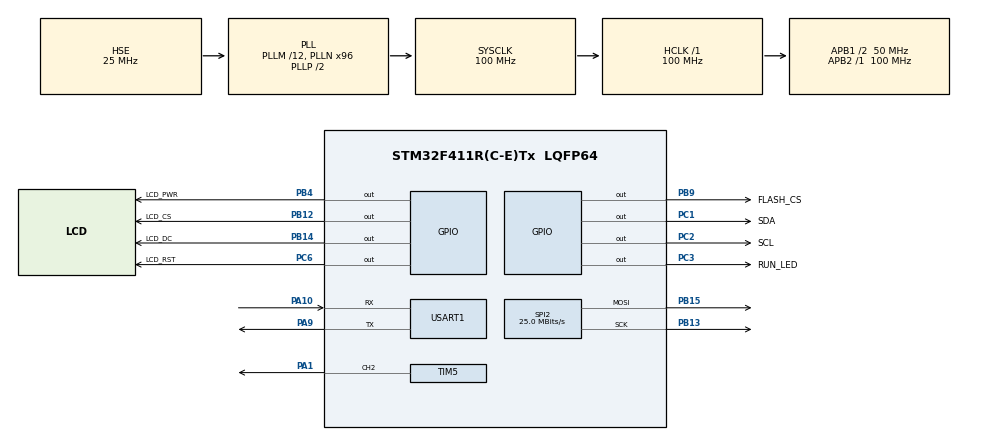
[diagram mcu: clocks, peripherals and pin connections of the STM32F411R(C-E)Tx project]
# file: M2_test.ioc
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Dma.Request0=TIM5_CH2
Dma.TIM5_CH2.0.Direction=DMA_MEMORY_TO_PERIPH
Dma.TIM5_CH2.0.FIFOMode=DMA_FIFOMODE_DISABLE
Dma.TIM5_CH2.0.Instance=DMA1_Stream4
Dma.TIM5_CH2.0.MemDataAlignment=DMA_MDATAALIGN_HALFWORD
Dma.TIM5_CH2.0.MemInc=DMA_MINC_ENABLE
Dma.TIM5_CH2.0.Mode=DMA_CIRCULAR
Dma.TIM5_CH2.0.PeriphDataAlignment=DMA_PDATAALIGN_HALFWORD
Dma.TIM5_CH2.0.PeriphInc=DMA_PINC_DISABLE
Dma.TIM5_CH2.0.Priority=DMA_PRIORITY_LOW
FREERTOS.Tasks01=Main_Task,1,640,Main,Default,NULL,Dynamic,NULL,NULL;LcdRefresh_Task,-3,1280,LcdRefresh,Default,NULL,Dynamic,NULL,NULL;Led_Task,-3,128,Led,Default,NULL,Dynamic,NULL,NULL
Mcu.Family=STM32F4
Mcu.Name=STM32F411R(C-E)Tx
Mcu.Package=LQFP64
NVIC.DMA1_Stream4_IRQn=true\:5\:0\:false\:false\:true\:true\:false\:true\:true
NVIC.PriorityGroup=NVIC_PRIORITYGROUP_4
NVIC.TIM1_TRG_COM_TIM11_IRQn=true\:15\:0\:false\:false\:true\:false\:false\:true\:true
NVIC.TimeBase=TIM1_TRG_COM_TIM11_IRQn
NVIC.TimeBaseIP=TIM11
PA1.Signal=S_TIM5_CH2
PA10.Mode=Asynchronous
PA10.Signal=USART1_RX
PA13.Mode=Serial_Wire
PA13.Signal=SYS_JTMS-SWDIO
PA14.Mode=Serial_Wire
PA14.Signal=SYS_JTCK-SWCLK
PA9.Mode=Asynchronous
PA9.Signal=USART1_TX
PB12.GPIO_Label=LCD_CS
PB12.Signal=GPIO_Output
PB13.Mode=TX_Only_Simplex_Unidirect_Master
PB13.Signal=SPI2_SCK
PB14.GPIO_Label=LCD_DC
PB14.Signal=GPIO_Output
PB15.Mode=TX_Only_Simplex_Unidirect_Master
PB15.Signal=SPI2_MOSI
PB4.GPIO_Label=LCD_PWR
PB4.PinState=GPIO_PIN_RESET
PB4.Signal=GPIO_Output
PB9.GPIO_Label=FLASH_CS
PB9.Signal=GPIO_Output
PC1.GPIO_Label=SDA
PC1.GPIO_ModeDefaultOutputPP=GPIO_MODE_OUTPUT_OD
PC1.GPIO_PuPd=GPIO_NOPULL
PC1.GPIO_Speed=GPIO_SPEED_FREQ_VERY_HIGH
PC1.Signal=GPIO_Output
PC2.GPIO_Label=SCL
PC2.GPIO_ModeDefaultOutputPP=GPIO_MODE_OUTPUT_OD
PC2.GPIO_PuPd=GPIO_NOPULL
PC2.Signal=GPIO_Output
PC3.GPIO_Label=RUN_LED
PC3.Signal=GPIO_Output
PC6.GPIO_Label=LCD_RST
PC6.Signal=GPIO_Output
PH0\ -\ OSC_IN.Mode=HSE-External-Oscillator
PH0\ -\ OSC_IN.Signal=RCC_OSC_IN
PH1\ -\ OSC_OUT.Mode=HSE-External-Oscillator
PH1\ -\ OSC_OUT.Signal=RCC_OSC_OUT
ProjectManager.HeapSize=0x200
ProjectManager.StackSize=0x400
ProjectManager.TargetToolchain=MDK-ARM V5.32
RCC.48MHZClocksFreq_Value=50000000
RCC.AHBFreq_Value=100000000
RCC.APB1CLKDivider=RCC_HCLK_DIV2
RCC.APB1Freq_Value=50000000
RCC.APB1TimFreq_Value=100000000
RCC.APB2Freq_Value=100000000
RCC.APB2TimFreq_Value=100000000
RCC.CortexFreq_Value=100000000
RCC.HCLKFreq_Value=100000000
RCC.HSE_VALUE=25000000
RCC.HSI_VALUE=16000000
RCC.LSE_VALUE=32768
RCC.PLLM=12
RCC.PLLN=96
RCC.PLLSourceVirtual=RCC_PLLSOURCE_HSE
RCC.SYSCLKFreq_VALUE=100000000
RCC.SYSCLKSource=RCC_SYSCLKSOURCE_PLLCLK
RCC.VCOOutputFreq_Value=200000000
SH.S_TIM5_CH2.0=TIM5_CH2,PWM Generation2 CH2
SPI2.BaudRatePrescaler=SPI_BAUDRATEPRESCALER_2
SPI2.CLKPhase=SPI_PHASE_2EDGE
SPI2.CLKPolarity=SPI_POLARITY_HIGH
SPI2.CalculateBaudRate=25.0 MBits/s
SPI2.Direction=SPI_DIRECTION_2LINES
SPI2.Mode=SPI_MODE_MASTER
SPI2.VirtualType=VM_MASTER
TIM5.AutoReloadPreload=TIM_AUTORELOAD_PRELOAD_DISABLE
TIM5.Channel-PWM\ Generation2\ CH2=TIM_CHANNEL_2
TIM5.OCFastMode_PWM-PWM\ Generation2\ CH2=TIM_OCFAST_DISABLE
TIM5.Period=125-1
TIM5.Pulse-PWM\ Generation2\ CH2=0
USART1.VirtualMode=VM_ASYNC
VP_FREERTOS_VS_CMSIS_V1.Mode=CMSIS_V1
VP_SYS_VS_tim11.Mode=TIM11
board=custom

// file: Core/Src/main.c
/* USER CODE BEGIN Header */
/**
  ******************************************************************************
  * @file           : main.c
  * @brief          : Main program body
  ******************************************************************************
  * @attention
  *
  * Copyright (c) 2024 STMicroelectronics.
  * All rights reserved.
  *
  * This software is licensed under terms that can be found in the LICENSE file
  * in the root directory of this software component.
  * If no LICENSE file comes with this software, it is provided AS-IS.
  *
  ******************************************************************************
  */
/* USER CODE END Header */
#include "main.h"
#include "cmsis_os.h"
#include "dma.h"
#include "spi.h"
#include "tim.h"
#include "usart.h"
#include "gpio.h"

/* USER CODE BEGIN Includes */
#include "LCD/lcd.h"
#include "lvgl.h"
#include "lv_port_disp_template.h"
#include "lv_demos.h"
#include "lv_demo_stress.h"
/* USER CODE END Includes */

void SystemClock_Config(void);
void MX_FREERTOS_Init(void);

int main(void)
{

  /* MCU Configuration--------------------------------------------------------*/

  /* Reset of all peripherals, Initializes the Flash interface and the Systick. */
  HAL_Init();

  /* Configure the system clock */
  SystemClock_Config();

  /* Initialize all configured peripherals */
  MX_GPIO_Init();
  MX_DMA_Init();
  MX_SPI2_Init();
  MX_USART1_UART_Init();
  MX_TIM5_Init();

  /* Call init function for freertos objects (in cmsis_os2.c) */
  MX_FREERTOS_Init();

  /* Start scheduler */
  osKernelStart();

  /* We should never get here as control is now taken by the scheduler */

  /* Infinite loop */
  while (1)
  {

  }
}

void SystemClock_Config(void)
{
  RCC_OscInitTypeDef RCC_OscInitStruct = {0};
  RCC_ClkInitTypeDef RCC_ClkInitStruct = {0};

  /** Configure the main internal regulator output voltage
  */
  __HAL_RCC_PWR_CLK_ENABLE();
  __HAL_PWR_VOLTAGESCALING_CONFIG(PWR_REGULATOR_VOLTAGE_SCALE1);

  /** Initializes the RCC Oscillators according to the specified parameters
  * in the RCC_OscInitTypeDef structure.
  */
  RCC_OscInitStruct.OscillatorType = RCC_OSCILLATORTYPE_HSE;
  RCC_OscInitStruct.HSEState = RCC_HSE_ON;
  RCC_OscInitStruct.PLL.PLLState = RCC_PLL_ON;
  RCC_OscInitStruct.PLL.PLLSource = RCC_PLLSOURCE_HSE;
  RCC_OscInitStruct.PLL.PLLM = 12;
  RCC_OscInitStruct.PLL.PLLN = 96;
  RCC_OscInitStruct.PLL.PLLP = RCC_PLLP_DIV2;
  RCC_OscInitStruct.PLL.PLLQ = 4;
  if (HAL_RCC_OscConfig(&RCC_OscInitStruct) != HAL_OK)
  {
    Error_Handler();
  }

  /** Initializes the CPU, AHB and APB buses clocks
  */
  RCC_ClkInitStruct.ClockType = RCC_CLOCKTYPE_HCLK|RCC_CLOCKTYPE_SYSCLK
                              |RCC_CLOCKTYPE_PCLK1|RCC_CLOCKTYPE_PCLK2;
  RCC_ClkInitStruct.SYSCLKSource = RCC_SYSCLKSOURCE_PLLCLK;
  RCC_ClkInitStruct.AHBCLKDivider = RCC_SYSCLK_DIV1;
  RCC_ClkInitStruct.APB1CLKDivider = RCC_HCLK_DIV2;
  RCC_ClkInitStruct.APB2CLKDivider = RCC_HCLK_DIV1;

  if (HAL_RCC_ClockConfig(&RCC_ClkInitStruct, FLASH_LATENCY_3) != HAL_OK)
  {
    Error_Handler();
  }
}

void HAL_TIM_PeriodElapsedCallback(TIM_HandleTypeDef *htim)
{
  if (htim->Instance == TIM11) {
    HAL_IncTick();
  }
}

void Error_Handler(void)
{
  __disable_irq();
  while (1)
  {
  }
}

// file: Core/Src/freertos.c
/* USER CODE BEGIN Header */
/**
  ******************************************************************************
  * File Name          : freertos.c
  * Description        : Code for freertos applications
  ******************************************************************************
  * @attention
  *
  * Copyright (c) 2024 STMicroelectronics.
  * All rights reserved.
  *
  * This software is licensed under terms that can be found in the LICENSE file
  * in the root directory of this software component.
  * If no LICENSE file comes with this software, it is provided AS-IS.
  *
  ******************************************************************************
  */
/* USER CODE END Header */

#include "FreeRTOS.h"
#include "task.h"
#include "main.h"
#include "cmsis_os.h"

/* USER CODE BEGIN Includes */
#include "LCD/lcd.h"
#include "RGB/ws2812b.h"
#include "lvgl.h"
#include "lv_port_disp_template.h"
#include "lv_demos.h"
#include "lv_demo_stress.h"
#include "../generated/gui_guider.h"
#include "../generated/events_init.h"
#include "widgets_init.h"
#include "circle_buffer.h"
#include "IIC/iic.h"
#include "UART/uart_pack.h"
#include "UART/uart_printf.h"
#include "AT24CXX/at24cxx.h"
/* USER CODE END Includes */

osThreadId Main_TaskHandle;
osThreadId LcdRefresh_TaskHandle;
osThreadId Led_TaskHandle;

/* USER CODE BEGIN FunctionPrototypes */

lv_ui guider_ui;
uint8_t LCD_text_flag = 0; //文本更新标志位
char LCD_text_buf[1280];
typedef struct
  {
    uint8_t Hour;
    uint8_t Minute;
    uint8_t Second;
  }Run_time;
  Run_time run_time = {0,0,0};

#define WS2812_NUM_LEDS  8  // WS2812 灯带的 LED 数量
#define WS2812_LED_DATA_SIZE (WS2812_NUM_LEDS * 24)  // 每个 LED 24 位

// WS2812 数据结构（RGB 颜色）
typedef struct {
    uint8_t G;
    uint8_t R;
    uint8_t B;
} WS2812_Color_t;

// 存储 WS2812 的颜色数据
WS2812_Color_t WS2812_Data[WS2812_NUM_LEDS];

// 定义用于存储 WS2812 数据的 PWM 比较值
uint16_t WS2812_PWM_Buffer[WS2812_LED_DATA_SIZE];

void WS2812_TransmitData(void) {
    int i, j;
    int bitIndex = 0;

    // 将数据转换为适合 PWM 输出的形式
    for (i = 0; i < WS2812_NUM_LEDS; i++) {
        uint8_t byte = 0;

        // 每个 LED 有 24 位（RGB），按顺序转换
        for (j = 0; j < 8; j++) {
            // 获取每个颜色的高位/低位值
            byte = WS2812_Data[i].R;
            // 通过 PWM 控制生成一个 0 或 1 的信号
            WS2812_PWM_Buffer[bitIndex++] = (byte & (1 << (7 - j))) ? 70 : 35;
            byte = WS2812_Data[i].G;
            WS2812_PWM_Buffer[bitIndex++] = (byte & (1 << (7 - j))) ? 70 : 35;
            byte = WS2812_Data[i].B;
            WS2812_PWM_Buffer[bitIndex++] = (byte & (1 << (7 - j))) ? 70 : 35;
        }
    }

    // 这里假设你已配置好 DMA 来更新 PWM 数据
    // 使用 DMA 或定时器比较寄存器（CCR）来驱动 WS2812 数据线
    HAL_TIM_PWM_Start_DMA(&htim5, TIM_CHANNEL_2, (uint32_t *)WS2812_PWM_Buffer, WS2812_LED_DATA_SIZE);
}

/* USER CODE END FunctionPrototypes */

void Main(void const * argument);
void LcdRefresh(void const * argument);
void Led(void const * argument);

void MX_FREERTOS_Init(void); /* (MISRA C 2004 rule 8.1) */

/* GetIdleTaskMemory prototype (linked to static allocation support) */
void vApplicationGetIdleTaskMemory( StaticTask_t **ppxIdleTaskTCBBuffer, StackType_t **ppxIdleTaskStackBuffer, uint32_t *pulIdleTaskStackSize );

/* USER CODE BEGIN GET_IDLE_TASK_MEMORY */
static StaticTask_t xIdleTaskTCBBuffer;
static StackType_t xIdleStack[configMINIMAL_STACK_SIZE];

void vApplicationGetIdleTaskMemory( StaticTask_t **ppxIdleTaskTCBBuffer, StackType_t **ppxIdleTaskStackBuffer, uint32_t *pulIdleTaskStackSize )
{
  *ppxIdleTaskTCBBuffer = &xIdleTaskTCBBuffer;
  *ppxIdleTaskStackBuffer = &xIdleStack[0];
  *pulIdleTaskStackSize = configMINIMAL_STACK_SIZE;
  /* place for user code */
}
/* USER CODE END GET_IDLE_TASK_MEMORY */

void MX_FREERTOS_Init(void) {
  /* USER CODE BEGIN Init */
  lv_init();											//lvgl系统初始化
	lv_port_disp_init();						//lvgl显示接口初始化,放在lv_init()的后面

  /* USER CODE END Init */

  /* Create the thread(s) */
  /* definition and creation of Main_Task */
  osThreadDef(Main_Task, Main, osPriorityAboveNormal, 0, 640);
  Main_TaskHandle = osThreadCreate(osThread(Main_Task), NULL);

  /* definition and creation of LcdRefresh_Task */
  osThreadDef(LcdRefresh_Task, LcdRefresh, osPriorityIdle, 0, 1280);
  LcdRefresh_TaskHandle = osThreadCreate(osThread(LcdRefresh_Task), NULL);

  /* definition and creation of Led_Task */
  osThreadDef(Led_Task, Led, osPriorityIdle, 0, 128);
  Led_TaskHandle = osThreadCreate(osThread(Led_Task), NULL);

}

void Main(void const * argument)
{
  /* USER CODE BEGIN Main */
  /* Infinite loop */
  osDelay(2000);
  LCDPrint("=================\r\n", LCD_text_buf , sizeof(LCD_text_buf));
  osDelay(100);
  LCDPrint("System Start!\r\n", LCD_text_buf , sizeof(LCD_text_buf));
  osDelay(100);
  LCDPrint("LVGL V8.4.0\n", LCD_text_buf , sizeof(LCD_text_buf));
  osDelay(100);
  LCDPrint("FreeRTOS V10.3.1\n", LCD_text_buf , sizeof(LCD_text_buf));
  osDelay(100);
  LCDPrint("CMSIS_OS V1.02\n", LCD_text_buf , sizeof(LCD_text_buf));
  osDelay(100);
  LCDPrint("=================\r\n", LCD_text_buf , sizeof(LCD_text_buf));
  osDelay(500);

  //串口初始化
  struct UART_Device *pUARTDev = GetUARTDevice("STM32_Bare_HAL_UART1_IT");//获取外设地址指针
  pUARTDev->Init(pUARTDev, 115200, 8, 'N', 1);
  LCDPrint("UART1_115200\n", LCD_text_buf , sizeof(LCD_text_buf));
  osDelay(100);
  //AT24C02初始化
  struct AT24CXX_Device *pAT24Dev = AT24CXX_GetDevice("EEPROM");//获取外设地址指针
  pAT24Dev->AT24CXX_Init(pAT24Dev);
  if(pAT24Dev->AT24CXX_Check(pAT24Dev) == 0)
  {
    LCDPrint("EEPROM OK\n", LCD_text_buf , sizeof(LCD_text_buf));
  }
  else
  {
    LCDPrint("EEPROM Error\n", LCD_text_buf , sizeof(LCD_text_buf));
  }
  osDelay(100);

 int i;
    for (i = 0; i < WS2812_NUM_LEDS; i++) {
        WS2812_Data[i].R = 255;
        WS2812_Data[i].G = 0;
        WS2812_Data[i].B = 0;
    }

  for(;;)
  {
  WS2812_TransmitData();  // 将数据发送到 WS2812
        LCDPrint("RGB DMA\n", LCD_text_buf , sizeof(LCD_text_buf));
        // 暂停一段时间以控制更新频率（比如 50ms 更新一次）
        vTaskDelay(pdMS_TO_TICKS(50));
  }
  /* USER CODE END Main */
}

void LcdRefresh(void const * argument)
{
  /* USER CODE BEGIN LcdRefresh */
  /* Infinite loop */
	setup_ui(&guider_ui);
  events_init(&guider_ui);
	lv_task_handler();
  //lv_label_set_text(guider_ui.screen_2_label_3, "Initializing...\n123");
  for(;;)
  {
    if(LCD_text_flag)
        {
          lv_label_set_text(guider_ui.screen_2_label_3, LCD_text_buf);
          LCD_text_flag = 0;
        }
    lv_timer_handler();
    vTaskDelay(10);
  }
  /* USER CODE END LcdRefresh */
}

void Led(void const * argument)
{
  /* USER CODE BEGIN Led */
  char LCD_time_buf[32]; // 用于存储格式化的字符串
  /* Infinite loop */
  for(;;)
  {
    osDelay(1000);
    HAL_GPIO_TogglePin(RUN_LED_GPIO_Port , RUN_LED_Pin);
    run_time.Second = run_time.Second +1;
    if(run_time.Second == 60)
    {
      run_time.Second = 0;
      run_time.Minute = run_time.Minute +1;
      if(run_time.Minute == 60)
      {
        run_time.Minute = 0;
        run_time.Hour = run_time.Hour +1;
      }
    }
    // 格式化字符串 xxH xxM xxS
    sprintf(LCD_time_buf, "%02dH%02dM%02dS", run_time.Hour, run_time.Minute, run_time.Second);
    lv_label_set_text(guider_ui.screen_2_label_2, LCD_time_buf);
  }
  /* USER CODE END Led */
}

/* USER CODE BEGIN Application */

// void HAL_TIM_PWM_PulseFinishedCallback(TIM_HandleTypeDef *htim)
// {
//     HAL_TIM_PWM_Stop_DMA(&htim5,TIM_CHANNEL_2);
// }
/* USER CODE END Application */
